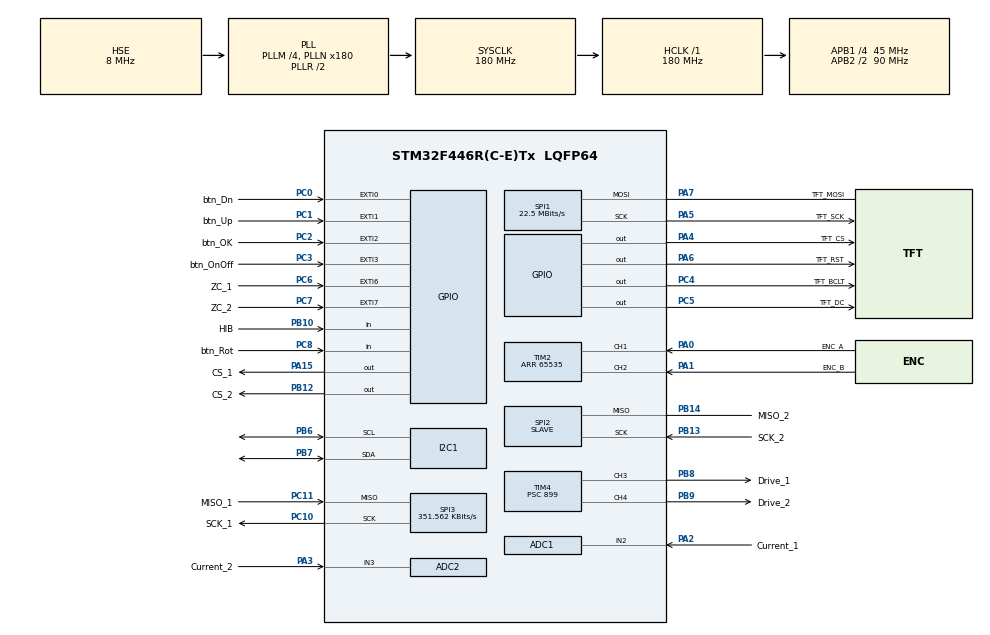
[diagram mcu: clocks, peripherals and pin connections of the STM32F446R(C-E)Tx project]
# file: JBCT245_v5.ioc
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ADC1.Channel-10\#ChannelRegularConversion=ADC_CHANNEL_2
ADC1.Channel-11\#ChannelRegularConversion=ADC_CHANNEL_2
ADC1.Channel-2\#ChannelRegularConversion=ADC_CHANNEL_2
ADC1.Channel-3\#ChannelRegularConversion=ADC_CHANNEL_2
ADC1.Channel-4\#ChannelRegularConversion=ADC_CHANNEL_2
ADC1.Channel-5\#ChannelRegularConversion=ADC_CHANNEL_2
ADC1.Channel-6\#ChannelRegularConversion=ADC_CHANNEL_2
ADC1.Channel-7\#ChannelRegularConversion=ADC_CHANNEL_2
ADC1.Channel-8\#ChannelRegularConversion=ADC_CHANNEL_2
ADC1.Channel-9\#ChannelRegularConversion=ADC_CHANNEL_2
ADC1.ClockPrescaler=ADC_CLOCK_SYNC_PCLK_DIV4
ADC1.NbrOfConversion=10
ADC1.NbrOfConversionFlag=1
ADC1.Rank-10\#ChannelRegularConversion=9
ADC1.Rank-11\#ChannelRegularConversion=10
ADC1.Rank-2\#ChannelRegularConversion=1
ADC1.Rank-3\#ChannelRegularConversion=2
ADC1.Rank-4\#ChannelRegularConversion=3
ADC1.Rank-5\#ChannelRegularConversion=4
ADC1.Rank-6\#ChannelRegularConversion=5
ADC1.Rank-7\#ChannelRegularConversion=6
ADC1.Rank-8\#ChannelRegularConversion=7
ADC1.Rank-9\#ChannelRegularConversion=8
ADC1.SamplingTime-10\#ChannelRegularConversion=ADC_SAMPLETIME_3CYCLES
ADC1.SamplingTime-11\#ChannelRegularConversion=ADC_SAMPLETIME_3CYCLES
ADC1.SamplingTime-2\#ChannelRegularConversion=ADC_SAMPLETIME_28CYCLES
ADC1.SamplingTime-3\#ChannelRegularConversion=ADC_SAMPLETIME_3CYCLES
ADC1.SamplingTime-4\#ChannelRegularConversion=ADC_SAMPLETIME_3CYCLES
ADC1.SamplingTime-5\#ChannelRegularConversion=ADC_SAMPLETIME_3CYCLES
ADC1.SamplingTime-6\#ChannelRegularConversion=ADC_SAMPLETIME_3CYCLES
ADC1.SamplingTime-7\#ChannelRegularConversion=ADC_SAMPLETIME_3CYCLES
ADC1.SamplingTime-8\#ChannelRegularConversion=ADC_SAMPLETIME_3CYCLES
ADC1.SamplingTime-9\#ChannelRegularConversion=ADC_SAMPLETIME_3CYCLES
ADC1.master=1
ADC2.Channel-1\#ChannelRegularConversion=ADC_CHANNEL_3
ADC2.NbrOfConversionFlag=1
ADC2.Rank-1\#ChannelRegularConversion=1
ADC2.SamplingTime-1\#ChannelRegularConversion=ADC_SAMPLETIME_3CYCLES
Mcu.Family=STM32F4
Mcu.Name=STM32F446R(C-E)Tx
Mcu.Package=LQFP64
NVIC.EXTI0_IRQn=true\:0\:0\:false\:false\:true\:true\:true
NVIC.EXTI1_IRQn=true\:0\:0\:false\:false\:true\:true\:true
NVIC.EXTI2_IRQn=true\:0\:0\:false\:false\:true\:true\:true
NVIC.EXTI3_IRQn=true\:0\:0\:false\:false\:true\:true\:true
NVIC.EXTI9_5_IRQn=true\:0\:0\:false\:false\:true\:true\:true
NVIC.PriorityGroup=NVIC_PRIORITYGROUP_4
NVIC.TIM2_IRQn=true\:0\:0\:false\:false\:true\:true\:true
NVIC.TIM4_IRQn=true\:0\:0\:false\:false\:true\:true\:true
PA0-WKUP.GPIO_Label=ENC_A
PA0-WKUP.GPIO_PuPd=GPIO_PULLUP
PA0-WKUP.GPIO_Speed=GPIO_SPEED_FREQ_HIGH
PA0-WKUP.Signal=S_TIM2_CH1_ETR
PA1.GPIO_Label=ENC_B
PA1.GPIO_PuPd=GPIO_PULLUP
PA1.GPIO_Speed=GPIO_SPEED_FREQ_HIGH
PA1.Signal=S_TIM2_CH2
PA13.Mode=Serial_Wire
PA13.Signal=SYS_JTMS-SWDIO
PA14.Mode=Serial_Wire
PA14.Signal=SYS_JTCK-SWCLK
PA15.GPIO_Label=CS_1
PA15.GPIO_PuPd=GPIO_PULLUP
PA15.GPIO_Speed=GPIO_SPEED_FREQ_VERY_HIGH
PA15.PinState=GPIO_PIN_SET
PA15.Signal=GPIO_Output
PA2.GPIO_Label=Current_1
PA2.Signal=ADCx_IN2
PA3.GPIO_Label=Current_2
PA3.Signal=ADCx_IN3
PA4.GPIO_Label=TFT_CS
PA4.Signal=GPIO_Output
PA5.GPIO_Label=TFT_SCK
PA5.Mode=Simplex_Bidirectional_Master
PA5.Signal=SPI1_SCK
PA6.GPIO_Label=TFT_RST
PA6.Signal=GPIO_Output
PA7.GPIO_Label=TFT_MOSI
PA7.Mode=Simplex_Bidirectional_Master
PA7.Signal=SPI1_MOSI
PB10.GPIO_Label=HIB
PB10.Signal=GPIO_Input
PB12.GPIO_Label=CS_2
PB12.GPIO_PuPd=GPIO_PULLUP
PB12.GPIO_Speed=GPIO_SPEED_FREQ_VERY_HIGH
PB12.PinState=GPIO_PIN_SET
PB12.Signal=GPIO_Output
PB13.GPIO_Label=SCK_2
PB13.GPIO_PuPd=GPIO_PULLDOWN
PB13.Mode=Simplex_Bidirectional_Slave
PB13.Signal=SPI2_SCK
PB14.GPIO_Label=MISO_2
PB14.GPIO_PuPd=GPIO_PULLDOWN
PB14.Mode=Simplex_Bidirectional_Slave
PB14.Signal=SPI2_MISO
PB6.Mode=I2C
PB6.Signal=I2C1_SCL
PB7.Mode=I2C
PB7.Signal=I2C1_SDA
PB8.GPIO_Label=Drive_1
PB8.Signal=S_TIM4_CH3
PB9.GPIO_Label=Drive_2
PB9.Signal=S_TIM4_CH4
PC0.GPIO_Label=btn_Dn
PC0.Signal=GPXTI0
PC1.GPIO_Label=btn_Up
PC1.Signal=GPXTI1
PC10.GPIO_Label=SCK_1
PC10.GPIO_PuPd=GPIO_PULLDOWN
PC10.Mode=RX_Only_Simplex_Unidirect_Master
PC10.Signal=SPI3_SCK
PC11.GPIO_Label=MISO_1
PC11.GPIO_PuPd=GPIO_PULLDOWN
PC11.Mode=RX_Only_Simplex_Unidirect_Master
PC11.Signal=SPI3_MISO
PC2.GPIO_Label=btn_OK
PC2.Signal=GPXTI2
PC3.GPIO_Label=btn_OnOff
PC3.Signal=GPXTI3
PC4.GPIO_Label=TFT_BCLT
PC4.Signal=GPIO_Output
PC5.GPIO_Label=TFT_DC
PC5.Signal=GPIO_Output
PC6.GPIO_Label=ZC_1
PC6.Signal=GPXTI6
PC7.GPIO_Label=ZC_2
PC7.Signal=GPXTI7
PC8.GPIO_Label=btn_Rot
PC8.Signal=GPIO_Input
PH0-OSC_IN.Mode=HSE-External-Oscillator
PH0-OSC_IN.Signal=RCC_OSC_IN
PH1-OSC_OUT.Mode=HSE-External-Oscillator
PH1-OSC_OUT.Signal=RCC_OSC_OUT
ProjectManager.HeapSize=0x200
ProjectManager.StackSize=0x400
ProjectManager.TargetToolchain=STM32CubeIDE
RCC.AHBFreq_Value=180000000
RCC.APB1CLKDivider=RCC_HCLK_DIV4
RCC.APB1Freq_Value=45000000
RCC.APB1TimFreq_Value=90000000
RCC.APB2CLKDivider=RCC_HCLK_DIV2
RCC.APB2Freq_Value=90000000
RCC.APB2TimFreq_Value=180000000
RCC.CortexFreq_Value=180000000
RCC.HCLKFreq_Value=180000000
RCC.HSE_VALUE=8000000
RCC.PLLM=4
RCC.PLLN=180
RCC.PLLSourceVirtual=RCC_PLLSOURCE_HSE
RCC.SYSCLKFreq_VALUE=180000000
RCC.SYSCLKSource=RCC_SYSCLKSOURCE_PLLRCLK
RCC.USBFreq_Value=180000000
RCC.VCOOutputFreq_Value=360000000
SH.ADCx_IN2.0=ADC1_IN2,IN2
SH.ADCx_IN3.0=ADC2_IN3,IN3
SH.S_TIM2_CH1_ETR.0=TIM2_CH1,Encoder_Interface
SH.S_TIM2_CH2.0=TIM2_CH2,Encoder_Interface
SH.S_TIM4_CH3.0=TIM4_CH3,PWM Generation3 CH3
SH.S_TIM4_CH4.0=TIM4_CH4,PWM Generation4 CH4
SPI1.BaudRatePrescaler=SPI_BAUDRATEPRESCALER_4
SPI1.CRCCalculation=SPI_CRCCALCULATION_DISABLE
SPI1.CalculateBaudRate=22.5 MBits/s
SPI1.Direction=SPI_DIRECTION_1LINE
SPI1.Mode=SPI_MODE_MASTER
SPI1.VirtualType=VM_MASTER
SPI2.Direction=SPI_DIRECTION_1LINE
SPI2.Mode=SPI_MODE_SLAVE
SPI2.VirtualType=VM_SLAVE
SPI3.BaudRatePrescaler=SPI_BAUDRATEPRESCALER_128
SPI3.CLKPolarity=SPI_POLARITY_HIGH
SPI3.CalculateBaudRate=351.562 KBits/s
SPI3.Direction=SPI_DIRECTION_2LINES_RXONLY
SPI3.Mode=SPI_MODE_MASTER
SPI3.VirtualType=VM_MASTER
TIM2.AutoReloadPreload=TIM_AUTORELOAD_PRELOAD_ENABLE
TIM2.ClockDivision=TIM_CLOCKDIVISION_DIV1
TIM2.CounterMode=TIM_COUNTERMODE_CENTERALIGNED1
TIM2.EncoderMode=TIM_ENCODERMODE_TI1
TIM2.IC1Filter=10
TIM2.IC1Polarity=TIM_ICPOLARITY_FALLING
TIM2.IC1Prescaler=TIM_ICPSC_DIV8
TIM2.IC2Filter=10
TIM2.IC2Polarity=TIM_ICPOLARITY_FALLING
TIM2.IC2Prescaler=TIM_ICPSC_DIV8
TIM2.Period=65535
TIM2.TIM_MasterSlaveMode=TIM_MASTERSLAVEMODE_ENABLE
TIM4.Channel-PWM\ Generation3\ CH3=TIM_CHANNEL_3
TIM4.Channel-PWM\ Generation4\ CH4=TIM_CHANNEL_4
TIM4.Period=100
TIM4.Prescaler=899
VP_CRC_VS_CRC.Mode=CRC_Activate
board=custom

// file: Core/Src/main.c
/* USER CODE BEGIN Header */
/**
 ******************************************************************************
 * @file           : main.c
 * @brief          : Main program body
 ******************************************************************************
 * @attention
 *
 * <h2><center>&copy; Copyright (c) 2020 STMicroelectronics.
 * All rights reserved.</center></h2>
 *
 * This software component is licensed by ST under BSD 3-Clause license,
 * the "License"; You may not use this file except in compliance with the
 * License. You may obtain a copy of the License at:
 *                        opensource.org/licenses/BSD-3-Clause
 *
 ******************************************************************************
 */
/* USER CODE END Header */

#include "main.h"

/* USER CODE BEGIN Includes */
#include <stdio.h>
#include <stdlib.h>
#include <math.h>
#include "st7735.h"
#include "st7735_v1.h"
#include "max31855.h"

/* USER CODE END Includes */

ADC_HandleTypeDef hadc1;
ADC_HandleTypeDef hadc2;

CRC_HandleTypeDef hcrc;

I2C_HandleTypeDef hi2c1;

SPI_HandleTypeDef hspi1;
SPI_HandleTypeDef hspi2;
SPI_HandleTypeDef hspi3;

TIM_HandleTypeDef htim2;
TIM_HandleTypeDef htim4;

void
SystemClock_Config(void);
static void
MX_GPIO_Init(void);
static void
MX_ADC1_Init(void);
static void
MX_CRC_Init(void);
static void
MX_I2C1_Init(void);
static void
MX_SPI1_Init(void);
static void
MX_SPI2_Init(void);
static void
MX_SPI3_Init(void);
static void
MX_TIM2_Init(void);
static void
MX_TIM4_Init(void);
static void
MX_ADC2_Init(void);

/* USER CODE BEGIN 0 */
int i;
char str[10];
char str1[10];
int32_t byte0, byte1;
uint8_t status;
int32_t Counter;
float probeTemp;
int32_t adcVal;
float current;
/* USER CODE END 0 */

int main(void) {

	/* MCU Configuration--------------------------------------------------------*/

	/* Reset of all peripherals, Initializes the Flash interface and the Systick. */
	HAL_Init();

	/* Configure the system clock */
	SystemClock_Config();

	/* Initialize all configured peripherals */
	MX_GPIO_Init();
	MX_ADC1_Init();
	MX_CRC_Init();
	MX_I2C1_Init();
	MX_SPI1_Init();
	MX_SPI2_Init();
	MX_SPI3_Init();
	MX_TIM2_Init();
	MX_TIM4_Init();
	MX_ADC2_Init();
	/* USER CODE BEGIN 2 */
	ST7735_Init();
	BCLT_ON
	;
	HAL_TIM_Encoder_Start_IT(&htim2, TIM_CHANNEL_1);
	HAL_TIM_PWM_Start_IT(&htim4, TIM_CHANNEL_3);
	TIM4->CCR3 = 70;
	/*
	 ST7735_ListBox_Item MainItems[5] = { "String_1", 1, 0, "String_2", 1, 0,
	 "String_3", 1, 0, "String_4", 1, 0, "String_5", 1, 0 };
	 ST7735_ListBox LB;
	 ST7735_ListBox_StructInit(&LB, 0, 0, MainItems, 5);
	 ST7735_ListBox_Draw(&LB);
	 */
	//sprintf(str1, "%d", 2);
	//ST7735_DrawString7x11(50, 50, (unsigned char*) str1, ST7735_WHITE,
	//ST7735_BLACK);
	/* USER CODE END 2 */

	/* Infinite loop */
	while (1) {

		/* USER CODE BEGIN 3 */
		/*
		 for (i = 0; i < 100; i++) {
		 sprintf(str1, "%d", i);
		 ST7735_DrawString5x7(0, 0, (unsigned char*) str1, ST7735_WHITE,
		 ST7735_BLACK);
		 ST7735_DrawString7x11(0, 10, (unsigned char*) str1, ST7735_WHITE,
		 ST7735_BLACK);
		 }
		 byte0 = MAX31855_Read_Internal_Temp();
		 HAL_Delay(500);
		 byte1 =
		 HAL_Delay(500);
		 status = MAX31855_Read_Status();
		 HAL_Delay(500);
		 */
		Counter = (TIM2->CNT) / 2;
		sprintf(str, "%d", (int) Counter);
		ST7735_WriteString(40, 0, "     ", Font_7x10,
		ST7735_BLACK,
		ST7735_BLACK);
		ST7735_WriteString(40, 0, (char*) str, Font_7x10,
		ST7735_WHITE,
		ST7735_BLACK);

		current = (float) (adcVal - 1700.0);
		sprintf(str1, "%3.2f", current);
		ST7735_WriteString(40, 40, "     ", Font_16x26,
		ST7735_BLACK,
		ST7735_BLACK);
		ST7735_WriteString(40, 40, (char*) str1, Font_16x26,
		ST7735_YELLOW,
		ST7735_BLACK);
		/*
		 probeTemp = (float) (MAX31855_Read_Probe_Temp () * 0.001);
		 sprintf (str1, "%3.1f", probeTemp);
		 ST7735_WriteString (40, 40, "     ", Font_16x26,
		 ST7735_BLACK,
		 ST7735_BLACK);
		 ST7735_WriteString (40, 40, (char*) str1, Font_16x26,
		 ST7735_YELLOW,
		 ST7735_BLACK);
		 */
		//ST7735_DrawString7x11(10, 10, (unsigned char*) str1, ST7735_WHITE,
		//ST7735_BLACK);
		//ST7735_DrawString7x11(0, 10, (unsigned char*) str1, ST7735_WHITE,
		//ST7735_BLACK);
		//HAL_Delay(100);
		//ST7735_ListBox_SetSelected(&LB, (uint8_t) Counter);
		//ST7735_DrawHLine(0, 160, 63, ST7735_WHITE);
	}
	/* USER CODE END 3 */
}

void SystemClock_Config(void) {
	RCC_OscInitTypeDef RCC_OscInitStruct = { 0 };
	RCC_ClkInitTypeDef RCC_ClkInitStruct = { 0 };

	/** Configure the main internal regulator output voltage
	 */
	__HAL_RCC_PWR_CLK_ENABLE();
	__HAL_PWR_VOLTAGESCALING_CONFIG(PWR_REGULATOR_VOLTAGE_SCALE1);
	/** Initializes the CPU, AHB and APB busses clocks
	 */
	RCC_OscInitStruct.OscillatorType = RCC_OSCILLATORTYPE_HSE;
	RCC_OscInitStruct.HSEState = RCC_HSE_ON;
	RCC_OscInitStruct.PLL.PLLState = RCC_PLL_ON;
	RCC_OscInitStruct.PLL.PLLSource = RCC_PLLSOURCE_HSE;
	RCC_OscInitStruct.PLL.PLLM = 4;
	RCC_OscInitStruct.PLL.PLLN = 180;
	RCC_OscInitStruct.PLL.PLLP = RCC_PLLP_DIV2;
	RCC_OscInitStruct.PLL.PLLQ = 2;
	RCC_OscInitStruct.PLL.PLLR = 2;
	if (HAL_RCC_OscConfig(&RCC_OscInitStruct) != HAL_OK) {
		Error_Handler();
	}
	/** Activate the Over-Drive mode
	 */
	if (HAL_PWREx_EnableOverDrive() != HAL_OK) {
		Error_Handler();
	}
	/** Initializes the CPU, AHB and APB busses clocks
	 */
	RCC_ClkInitStruct.ClockType = RCC_CLOCKTYPE_HCLK | RCC_CLOCKTYPE_SYSCLK
			| RCC_CLOCKTYPE_PCLK1 | RCC_CLOCKTYPE_PCLK2;
	RCC_ClkInitStruct.SYSCLKSource = RCC_SYSCLKSOURCE_PLLRCLK;
	RCC_ClkInitStruct.AHBCLKDivider = RCC_SYSCLK_DIV1;
	RCC_ClkInitStruct.APB1CLKDivider = RCC_HCLK_DIV4;
	RCC_ClkInitStruct.APB2CLKDivider = RCC_HCLK_DIV2;

	if (HAL_RCC_ClockConfig(&RCC_ClkInitStruct, FLASH_LATENCY_5) != HAL_OK) {
		Error_Handler();
	}
}

static void MX_ADC1_Init(void) {

	ADC_ChannelConfTypeDef sConfig = { 0 };

	/** Configure the global features of the ADC (Clock, Resolution, Data Alignment and number of conversion)
	 */
	hadc1.Instance = ADC1;
	hadc1.Init.ClockPrescaler = ADC_CLOCK_SYNC_PCLK_DIV4;
	hadc1.Init.Resolution = ADC_RESOLUTION_12B;
	hadc1.Init.ScanConvMode = ENABLE;
	hadc1.Init.ContinuousConvMode = DISABLE;
	hadc1.Init.DiscontinuousConvMode = DISABLE;
	hadc1.Init.ExternalTrigConvEdge = ADC_EXTERNALTRIGCONVEDGE_NONE;
	hadc1.Init.ExternalTrigConv = ADC_SOFTWARE_START;
	hadc1.Init.DataAlign = ADC_DATAALIGN_RIGHT;
	hadc1.Init.NbrOfConversion = 10;
	hadc1.Init.DMAContinuousRequests = DISABLE;
	hadc1.Init.EOCSelection = ADC_EOC_SINGLE_CONV;
	if (HAL_ADC_Init(&hadc1) != HAL_OK) {
		Error_Handler();
	}
	/** Configure for the selected ADC regular channel its corresponding rank in the sequencer and its sample time.
	 */
	sConfig.Channel = ADC_CHANNEL_2;
	sConfig.Rank = 1;
	sConfig.SamplingTime = ADC_SAMPLETIME_28CYCLES;
	if (HAL_ADC_ConfigChannel(&hadc1, &sConfig) != HAL_OK) {
		Error_Handler();
	}
	/** Configure for the selected ADC regular channel its corresponding rank in the sequencer and its sample time.
	 */
	sConfig.Rank = 2;
	sConfig.SamplingTime = ADC_SAMPLETIME_3CYCLES;
	if (HAL_ADC_ConfigChannel(&hadc1, &sConfig) != HAL_OK) {
		Error_Handler();
	}
	/** Configure for the selected ADC regular channel its corresponding rank in the sequencer and its sample time.
	 */
	sConfig.Rank = 3;
	if (HAL_ADC_ConfigChannel(&hadc1, &sConfig) != HAL_OK) {
		Error_Handler();
	}
	/** Configure for the selected ADC regular channel its corresponding rank in the sequencer and its sample time.
	 */
	sConfig.Rank = 4;
	if (HAL_ADC_ConfigChannel(&hadc1, &sConfig) != HAL_OK) {
		Error_Handler();
	}
	/** Configure for the selected ADC regular channel its corresponding rank in the sequencer and its sample time.
	 */
	sConfig.Rank = 5;
	if (HAL_ADC_ConfigChannel(&hadc1, &sConfig) != HAL_OK) {
		Error_Handler();
	}
	/** Configure for the selected ADC regular channel its corresponding rank in the sequencer and its sample time.
	 */
	sConfig.Rank = 6;
	if (HAL_ADC_ConfigChannel(&hadc1, &sConfig) != HAL_OK) {
		Error_Handler();
	}
	/** Configure for the selected ADC regular channel its corresponding rank in the sequencer and its sample time.
	 */
	sConfig.Rank = 7;
	if (HAL_ADC_ConfigChannel(&hadc1, &sConfig) != HAL_OK) {
		Error_Handler();
	}
	/** Configure for the selected ADC regular channel its corresponding rank in the sequencer and its sample time.
	 */
	sConfig.Rank = 8;
	if (HAL_ADC_ConfigChannel(&hadc1, &sConfig) != HAL_OK) {
		Error_Handler();
	}
	/** Configure for the selected ADC regular channel its corresponding rank in the sequencer and its sample time.
	 */
	sConfig.Rank = 9;
	if (HAL_ADC_ConfigChannel(&hadc1, &sConfig) != HAL_OK) {
		Error_Handler();
	}
	/** Configure for the selected ADC regular channel its corresponding rank in the sequencer and its sample time.
	 */
	sConfig.Rank = 10;
	if (HAL_ADC_ConfigChannel(&hadc1, &sConfig) != HAL_OK) {
		Error_Handler();
	}

}

static void MX_ADC2_Init(void) {

	ADC_ChannelConfTypeDef sConfig = { 0 };

	/** Configure the global features of the ADC (Clock, Resolution, Data Alignment and number of conversion)
	 */
	hadc2.Instance = ADC2;
	hadc2.Init.ClockPrescaler = ADC_CLOCK_SYNC_PCLK_DIV4;
	hadc2.Init.Resolution = ADC_RESOLUTION_12B;
	hadc2.Init.ScanConvMode = DISABLE;
	hadc2.Init.ContinuousConvMode = DISABLE;
	hadc2.Init.DiscontinuousConvMode = DISABLE;
	hadc2.Init.ExternalTrigConvEdge = ADC_EXTERNALTRIGCONVEDGE_NONE;
	hadc2.Init.ExternalTrigConv = ADC_SOFTWARE_START;
	hadc2.Init.DataAlign = ADC_DATAALIGN_RIGHT;
	hadc2.Init.NbrOfConversion = 1;
	hadc2.Init.DMAContinuousRequests = DISABLE;
	hadc2.Init.EOCSelection = ADC_EOC_SINGLE_CONV;
	if (HAL_ADC_Init(&hadc2) != HAL_OK) {
		Error_Handler();
	}
	/** Configure for the selected ADC regular channel its corresponding rank in the sequencer and its sample time.
	 */
	sConfig.Channel = ADC_CHANNEL_3;
	sConfig.Rank = 1;
	sConfig.SamplingTime = ADC_SAMPLETIME_3CYCLES;
	if (HAL_ADC_ConfigChannel(&hadc2, &sConfig) != HAL_OK) {
		Error_Handler();
	}

}

static void MX_CRC_Init(void) {

	hcrc.Instance = CRC;
	if (HAL_CRC_Init(&hcrc) != HAL_OK) {
		Error_Handler();
	}

}

static void MX_I2C1_Init(void) {

	hi2c1.Instance = I2C1;
	hi2c1.Init.ClockSpeed = 100000;
	hi2c1.Init.DutyCycle = I2C_DUTYCYCLE_2;
	hi2c1.Init.OwnAddress1 = 0;
	hi2c1.Init.AddressingMode = I2C_ADDRESSINGMODE_7BIT;
	hi2c1.Init.DualAddressMode = I2C_DUALADDRESS_DISABLE;
	hi2c1.Init.OwnAddress2 = 0;
	hi2c1.Init.GeneralCallMode = I2C_GENERALCALL_DISABLE;
	hi2c1.Init.NoStretchMode = I2C_NOSTRETCH_DISABLE;
	if (HAL_I2C_Init(&hi2c1) != HAL_OK) {
		Error_Handler();
	}

}

static void MX_SPI1_Init(void) {

	/* SPI1 parameter configuration*/
	hspi1.Instance = SPI1;
	hspi1.Init.Mode = SPI_MODE_MASTER;
	hspi1.Init.Direction = SPI_DIRECTION_1LINE;
	hspi1.Init.DataSize = SPI_DATASIZE_8BIT;
	hspi1.Init.CLKPolarity = SPI_POLARITY_LOW;
	hspi1.Init.CLKPhase = SPI_PHASE_1EDGE;
	hspi1.Init.NSS = SPI_NSS_SOFT;
	hspi1.Init.BaudRatePrescaler = SPI_BAUDRATEPRESCALER_4;
	hspi1.Init.FirstBit = SPI_FIRSTBIT_MSB;
	hspi1.Init.TIMode = SPI_TIMODE_DISABLE;
	hspi1.Init.CRCCalculation = SPI_CRCCALCULATION_DISABLE;
	hspi1.Init.CRCPolynomial = 10;
	if (HAL_SPI_Init(&hspi1) != HAL_OK) {
		Error_Handler();
	}

}

static void MX_SPI2_Init(void) {

	/* SPI2 parameter configuration*/
	hspi2.Instance = SPI2;
	hspi2.Init.Mode = SPI_MODE_SLAVE;
	hspi2.Init.Direction = SPI_DIRECTION_1LINE;
	hspi2.Init.DataSize = SPI_DATASIZE_8BIT;
	hspi2.Init.CLKPolarity = SPI_POLARITY_LOW;
	hspi2.Init.CLKPhase = SPI_PHASE_1EDGE;
	hspi2.Init.NSS = SPI_NSS_SOFT;
	hspi2.Init.FirstBit = SPI_FIRSTBIT_MSB;
	hspi2.Init.TIMode = SPI_TIMODE_DISABLE;
	hspi2.Init.CRCCalculation = SPI_CRCCALCULATION_DISABLE;
	hspi2.Init.CRCPolynomial = 10;
	if (HAL_SPI_Init(&hspi2) != HAL_OK) {
		Error_Handler();
	}

}

static void MX_SPI3_Init(void) {

	/* SPI3 parameter configuration*/
	hspi3.Instance = SPI3;
	hspi3.Init.Mode = SPI_MODE_MASTER;
	hspi3.Init.Direction = SPI_DIRECTION_2LINES_RXONLY;
	hspi3.Init.DataSize = SPI_DATASIZE_8BIT;
	hspi3.Init.CLKPolarity = SPI_POLARITY_HIGH;
	hspi3.Init.CLKPhase = SPI_PHASE_1EDGE;
	hspi3.Init.NSS = SPI_NSS_SOFT;
	hspi3.Init.BaudRatePrescaler = SPI_BAUDRATEPRESCALER_128;
	hspi3.Init.FirstBit = SPI_FIRSTBIT_MSB;
	hspi3.Init.TIMode = SPI_TIMODE_DISABLE;
	hspi3.Init.CRCCalculation = SPI_CRCCALCULATION_DISABLE;
	hspi3.Init.CRCPolynomial = 10;
	if (HAL_SPI_Init(&hspi3) != HAL_OK) {
		Error_Handler();
	}

}

static void MX_TIM2_Init(void) {

	TIM_Encoder_InitTypeDef sConfig = { 0 };
	TIM_MasterConfigTypeDef sMasterConfig = { 0 };

	htim2.Instance = TIM2;
	htim2.Init.Prescaler = 0;
	htim2.Init.CounterMode = TIM_COUNTERMODE_CENTERALIGNED1;
	htim2.Init.Period = 65535;
	htim2.Init.ClockDivision = TIM_CLOCKDIVISION_DIV1;
	htim2.Init.AutoReloadPreload = TIM_AUTORELOAD_PRELOAD_ENABLE;
	sConfig.EncoderMode = TIM_ENCODERMODE_TI1;
	sConfig.IC1Polarity = TIM_ICPOLARITY_FALLING;
	sConfig.IC1Selection = TIM_ICSELECTION_DIRECTTI;
	sConfig.IC1Prescaler = TIM_ICPSC_DIV8;
	sConfig.IC1Filter = 10;
	sConfig.IC2Polarity = TIM_ICPOLARITY_FALLING;
	sConfig.IC2Selection = TIM_ICSELECTION_DIRECTTI;
	sConfig.IC2Prescaler = TIM_ICPSC_DIV8;
	sConfig.IC2Filter = 10;
	if (HAL_TIM_Encoder_Init(&htim2, &sConfig) != HAL_OK) {
		Error_Handler();
	}
	sMasterConfig.MasterOutputTrigger = TIM_TRGO_RESET;
	sMasterConfig.MasterSlaveMode = TIM_MASTERSLAVEMODE_ENABLE;
	if (HAL_TIMEx_MasterConfigSynchronization(&htim2, &sMasterConfig)
			!= HAL_OK) {
		Error_Handler();
	}

}

static void MX_TIM4_Init(void) {

	TIM_MasterConfigTypeDef sMasterConfig = { 0 };
	TIM_OC_InitTypeDef sConfigOC = { 0 };

	htim4.Instance = TIM4;
	htim4.Init.Prescaler = 899;
	htim4.Init.CounterMode = TIM_COUNTERMODE_UP;
	htim4.Init.Period = 100;
	htim4.Init.ClockDivision = TIM_CLOCKDIVISION_DIV1;
	htim4.Init.AutoReloadPreload = TIM_AUTORELOAD_PRELOAD_DISABLE;
	if (HAL_TIM_PWM_Init(&htim4) != HAL_OK) {
		Error_Handler();
	}
	sMasterConfig.MasterOutputTrigger = TIM_TRGO_RESET;
	sMasterConfig.MasterSlaveMode = TIM_MASTERSLAVEMODE_DISABLE;
	if (HAL_TIMEx_MasterConfigSynchronization(&htim4, &sMasterConfig)
			!= HAL_OK) {
		Error_Handler();
	}
	sConfigOC.OCMode = TIM_OCMODE_PWM1;
	sConfigOC.Pulse = 0;
	sConfigOC.OCPolarity = TIM_OCPOLARITY_HIGH;
	sConfigOC.OCFastMode = TIM_OCFAST_DISABLE;
	if (HAL_TIM_PWM_ConfigChannel(&htim4, &sConfigOC, TIM_CHANNEL_3)
			!= HAL_OK) {
		Error_Handler();
	}
	if (HAL_TIM_PWM_ConfigChannel(&htim4, &sConfigOC, TIM_CHANNEL_4)
			!= HAL_OK) {
		Error_Handler();
	}
	HAL_TIM_MspPostInit(&htim4);

}

static void MX_GPIO_Init(void) {
	GPIO_InitTypeDef GPIO_InitStruct = { 0 };

	/* GPIO Ports Clock Enable */
	__HAL_RCC_GPIOH_CLK_ENABLE();
	__HAL_RCC_GPIOC_CLK_ENABLE();
	__HAL_RCC_GPIOA_CLK_ENABLE();
	__HAL_RCC_GPIOB_CLK_ENABLE();

	/*Configure GPIO pin Output Level */
	HAL_GPIO_WritePin(GPIOA, TFT_CS_Pin | TFT_RST_Pin, GPIO_PIN_RESET);

	/*Configure GPIO pin Output Level */
	HAL_GPIO_WritePin(GPIOC, TFT_BCLT_Pin | TFT_DC_Pin, GPIO_PIN_RESET);

	/*Configure GPIO pin Output Level */
	HAL_GPIO_WritePin(CS_2_GPIO_Port, CS_2_Pin, GPIO_PIN_SET);

	/*Configure GPIO pin Output Level */
	HAL_GPIO_WritePin(CS_1_GPIO_Port, CS_1_Pin, GPIO_PIN_SET);

	/*Configure GPIO pins : btn_Dn_Pin btn_Up_Pin btn_OK_Pin btn_OnOff_Pin
	 ZC_1_Pin ZC_2_Pin */
	GPIO_InitStruct.Pin = btn_Dn_Pin | btn_Up_Pin | btn_OK_Pin | btn_OnOff_Pin
			| ZC_1_Pin | ZC_2_Pin;
	GPIO_InitStruct.Mode = GPIO_MODE_IT_RISING;
	GPIO_InitStruct.Pull = GPIO_NOPULL;
	HAL_GPIO_Init(GPIOC, &GPIO_InitStruct);

	/*Configure GPIO pins : TFT_CS_Pin TFT_RST_Pin */
	GPIO_InitStruct.Pin = TFT_CS_Pin | TFT_RST_Pin;
	GPIO_InitStruct.Mode = GPIO_MODE_OUTPUT_PP;
	GPIO_InitStruct.Pull = GPIO_NOPULL;
	GPIO_InitStruct.Speed = GPIO_SPEED_FREQ_LOW;
	HAL_GPIO_Init(GPIOA, &GPIO_InitStruct);

	/*Configure GPIO pins : TFT_BCLT_Pin TFT_DC_Pin */
	GPIO_InitStruct.Pin = TFT_BCLT_Pin | TFT_DC_Pin;
	GPIO_InitStruct.Mode = GPIO_MODE_OUTPUT_PP;
	GPIO_InitStruct.Pull = GPIO_NOPULL;
	GPIO_InitStruct.Speed = GPIO_SPEED_FREQ_LOW;
	HAL_GPIO_Init(GPIOC, &GPIO_InitStruct);

	/*Configure GPIO pin : HIB_Pin */
	GPIO_InitStruct.Pin = HIB_Pin;
	GPIO_InitStruct.Mode = GPIO_MODE_INPUT;
	GPIO_InitStruct.Pull = GPIO_NOPULL;
	HAL_GPIO_Init(HIB_GPIO_Port, &GPIO_InitStruct);

	/*Configure GPIO pin : CS_2_Pin */
	GPIO_InitStruct.Pin = CS_2_Pin;
	GPIO_InitStruct.Mode = GPIO_MODE_OUTPUT_PP;
	GPIO_InitStruct.Pull = GPIO_PULLUP;
	GPIO_InitStruct.Speed = GPIO_SPEED_FREQ_VERY_HIGH;
	HAL_GPIO_Init(CS_2_GPIO_Port, &GPIO_InitStruct);

	/*Configure GPIO pin : btn_Rot_Pin */
	GPIO_InitStruct.Pin = btn_Rot_Pin;
	GPIO_InitStruct.Mode = GPIO_MODE_INPUT;
	GPIO_InitStruct.Pull = GPIO_NOPULL;
	HAL_GPIO_Init(btn_Rot_GPIO_Port, &GPIO_InitStruct);

	/*Configure GPIO pin : CS_1_Pin */
	GPIO_InitStruct.Pin = CS_1_Pin;
	GPIO_InitStruct.Mode = GPIO_MODE_OUTPUT_PP;
	GPIO_InitStruct.Pull = GPIO_PULLUP;
	GPIO_InitStruct.Speed = GPIO_SPEED_FREQ_VERY_HIGH;
	HAL_GPIO_Init(CS_1_GPIO_Port, &GPIO_InitStruct);

	/* EXTI interrupt init*/
	HAL_NVIC_SetPriority(EXTI0_IRQn, 0, 0);
	HAL_NVIC_EnableIRQ(EXTI0_IRQn);

	HAL_NVIC_SetPriority(EXTI1_IRQn, 0, 0);
	HAL_NVIC_EnableIRQ(EXTI1_IRQn);

	HAL_NVIC_SetPriority(EXTI2_IRQn, 0, 0);
	HAL_NVIC_EnableIRQ(EXTI2_IRQn);

	HAL_NVIC_SetPriority(EXTI3_IRQn, 0, 0);
	HAL_NVIC_EnableIRQ(EXTI3_IRQn);

	HAL_NVIC_SetPriority(EXTI9_5_IRQn, 0, 0);
	HAL_NVIC_EnableIRQ(EXTI9_5_IRQn);

}

void Error_Handler(void) {
}

/************************ (C) COPYRIGHT STMicroelectronics *****END OF FILE****/
